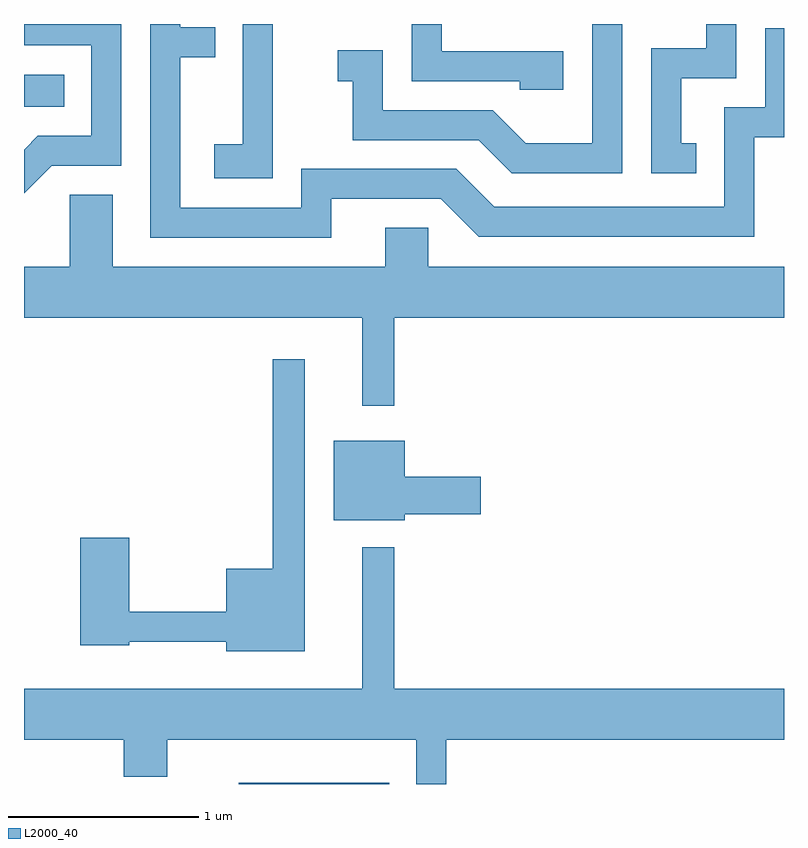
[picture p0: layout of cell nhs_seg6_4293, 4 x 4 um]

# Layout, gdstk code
import gdstk
lib = gdstk.Library(unit=1e-6, precision=1e-09)
def R(c, l, rs):  # rectangles x0, y0, x1, y1
    for r in rs: c.add(gdstk.rectangle(r[:2], r[2:], *l))
def P(c, l, *ps):  # polygons
    for p in ps: c.add(gdstk.Polygon(p, *l))
L2000_40 = (2000, 40)

nhs_seg6_4293 = lib.new_cell('nhs_seg6_4293')
R(nhs_seg6_4293, L2000_40, [(316.741,1634.162,317.533,1634.169), (315.611,1637.726,315.823,1637.894)])
P(nhs_seg6_4293, L2000_40, [(318.449,1638.019),(317.809,1638.019),(317.809,1638.162),(317.651,1638.162),(317.651,1637.861),(318.221,1637.861),(318.221,1637.816),(318.449,1637.816)],
  [(316.919,1638.162),(316.761,1638.162),(316.761,1637.529),(316.611,1637.529),(316.611,1637.351),(316.919,1637.351)],
  [(319.148,1637.534),(319.069,1637.534),(319.069,1637.876),(319.359,1637.876),(319.359,1638.162),(319.201,1638.162),(319.201,1638.034),(318.911,1638.034),(318.911,1637.376),(319.148,1637.376)],
  [(317.229,1637.241),(317.804,1637.241),(318.004,1637.041),(319.454,1637.041),(319.454,1637.566),(319.611,1637.566),(319.611,1638.139),(319.511,1638.139),(319.511,1637.724),(319.296,1637.724),(319.296,1637.199),(318.087,1637.199),(317.887,1637.399),(317.071,1637.399),(317.071,1637.194),(316.434,1637.194),(316.434,1637.986),(316.618,1637.986),(316.618,1638.144),(316.434,1638.144),(316.434,1638.162),(316.276,1638.162),(316.276,1637.036),(317.229,1637.036)],
  [(318.759,1638.162),(318.601,1638.162),(318.601,1637.534),(318.252,1637.534),(318.077,1637.709),(317.499,1637.709),(317.499,1638.024),(317.263,1638.024),(317.263,1637.861),(317.341,1637.861),(317.341,1637.551),(318.004,1637.551),(318.179,1637.376),(318.759,1637.376)],
  [(315.757,1637.416),(316.124,1637.416),(316.124,1638.162),(315.611,1638.162),(315.611,1638.051),(315.966,1638.051),(315.966,1637.574),(315.684,1637.574),(315.611,1637.501),(315.611,1637.27)],
  [(317.559,1636.616),(319.611,1636.616),(319.611,1636.884),(317.739,1636.884),(317.739,1637.089),(317.511,1637.089),(317.511,1636.884),(316.079,1636.884),(316.079,1637.264),(315.851,1637.264),(315.851,1636.884),(315.611,1636.884),(315.611,1636.616),(317.391,1636.616),(317.391,1636.153),(317.559,1636.153)],
  [(317.089,1636.398),(316.921,1636.398),(316.921,1635.294),(316.676,1635.294),(316.676,1635.069),(316.164,1635.069),(316.164,1635.459),(315.906,1635.459),(315.906,1634.891),(316.164,1634.891),(316.164,1634.911),(316.676,1634.911),(316.676,1634.861),(317.089,1634.861)],
  [(317.614,1635.581),(318.014,1635.581),(318.014,1635.779),(317.614,1635.779),(317.614,1635.969),(317.241,1635.969),(317.241,1635.551),(317.614,1635.551)],
  [(317.834,1634.396),(319.611,1634.396),(319.611,1634.664),(317.559,1634.664),(317.559,1635.408),(317.391,1635.408),(317.391,1634.664),(315.611,1634.664),(315.611,1634.396),(316.136,1634.396),(316.136,1634.201),(316.364,1634.201),(316.364,1634.396),(317.676,1634.396),(317.676,1634.162),(317.834,1634.162)])

lib.write_gds('nhs_seg6_4293.gds')
